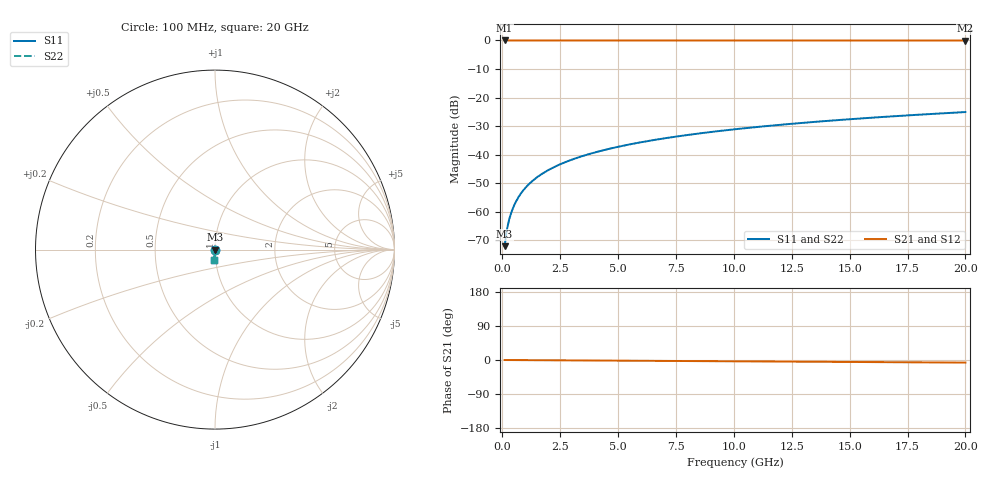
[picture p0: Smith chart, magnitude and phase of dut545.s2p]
! Touchstone file exported from HFSS 2026.1.0
!  File:  C:/ffzhzh/LocalFiles/Ansys_Project_Files/temp_train_TSV_545_1783024109_46388.aedt
!  Generated:  04:30:40 AM Jul  3, 2026
!  Design:  TSV
!  Project:  temp_train_TSV_545_1783024109_46388
! Variables:
!  h_bsmrdl = 2um
!  h_ox = 20um
!  h_rdl = 5um
!  h_sub = 62.03um
!  h_tmrdl = 5um
!  h_tsv = 62.03um
!  h_via = 3um
!  l_bsmrdl = 300um
!  l_sub = 429.02um
!  l_tmrdl = 200um
!  m_sub = 200um
!  pitch = 39.07um
!  r_tsv = 14.51um
!  s_tmrdl = 10um
!  w_bsmrdl = 18um
!  w_sub = 500um
!  w_tmrdl = 12um
!  x_tsv_center1 = 206um
!  x_tsv_center2 = 524um
!  x_tsv_center3 = 736um
!  x_tsv_center4 = 1054um
!  x_tsv_center5 = 1266um
!  x_tsv_center6 = 1584um
# GHz S MA R 50.000000
! Terminal data exported
! Port[1] = TSV1_1_T1
! Port[2] = TSV1_1_T2
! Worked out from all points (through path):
!   200 points, 100 MHz to 20 GHz, reference 50 ohm
!   highest |S21| = 0.00 dB at 100 MHz (marker M1); lowest = 0.0 dB at 20 GHz (marker M2)
!   lowest |S11| = -72.0 dB at 100 MHz (marker M3), VSWR 1.00, Z = 50 - j0.0241 ohm
!   |S11| at or under -10 dB: start of sweep to end of sweep
!   |S22| runs from -72.0 to -25.1 dB; largest |S21 - S12| = 1.1e-15
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0.1  0.0002509 -74.1  0.9999 -0.0  0.9999 -0.0  0.0002509 -74.1
! Gamma 0 0 0 0
! Port Impedance 50 0 50 0
0.2  0.000493 -80.5  0.9999 -0.1  0.9999 -0.1  0.000493 -80.5
0.3  0.0007442 -82.3  0.9999 -0.1  0.9999 -0.1  0.0007442 -82.3
0.4  0.001003 -83.1  0.9999 -0.1  0.9999 -0.1  0.001003 -83.1
0.5  0.001268 -83.6  0.9999 -0.2  0.9999 -0.2  0.001268 -83.6
0.7  0.00181 -84.4  0.9998 -0.2  0.9998 -0.2  0.00181 -84.4
0.8  0.002085 -84.8  0.9998 -0.3  0.9998 -0.3  0.002085 -84.8
1  0.002639 -85.4  0.9998 -0.4  0.9998 -0.4  0.002639 -85.4
1.2  0.003194 -86.0  0.9997 -0.4  0.9997 -0.4  0.003194 -86.0
1.4  0.00375 -86.4  0.9997 -0.5  0.9997 -0.5  0.00375 -86.4
1.7  0.004583 -87.0  0.9997 -0.6  0.9997 -0.6  0.004583 -87.0
2  0.005415 -87.5  0.9997 -0.7  0.9997 -0.7  0.005415 -87.5
2.7  0.007357 -88.3  0.9996 -0.9  0.9996 -0.9  0.007357 -88.3
3.5  0.009579 -88.9  0.9996 -1.2  0.9996 -1.2  0.009579 -88.9
4.2  0.01153 -89.3  0.9995 -1.5  0.9995 -1.5  0.01153 -89.3
5  0.01376 -89.8  0.9994 -1.7  0.9994 -1.7  0.01376 -89.8
6.8  0.0188 -90.7  0.9993 -2.4  0.9993 -2.4  0.0188 -90.7
8.3  0.023 -91.4  0.9991 -2.9  0.9991 -2.9  0.023 -91.4
10.1  0.02806 -92.1  0.9989 -3.5  0.9989 -3.5  0.02806 -92.1
13.4  0.03732 -93.4  0.9985 -4.6  0.9985 -4.6  0.03732 -93.4
16.7  0.04657 -94.7  0.9981 -5.7  0.9981 -5.7  0.04657 -94.7
20  0.05582 -95.9  0.9975 -6.9  0.9975 -6.9  0.05582 -95.9
